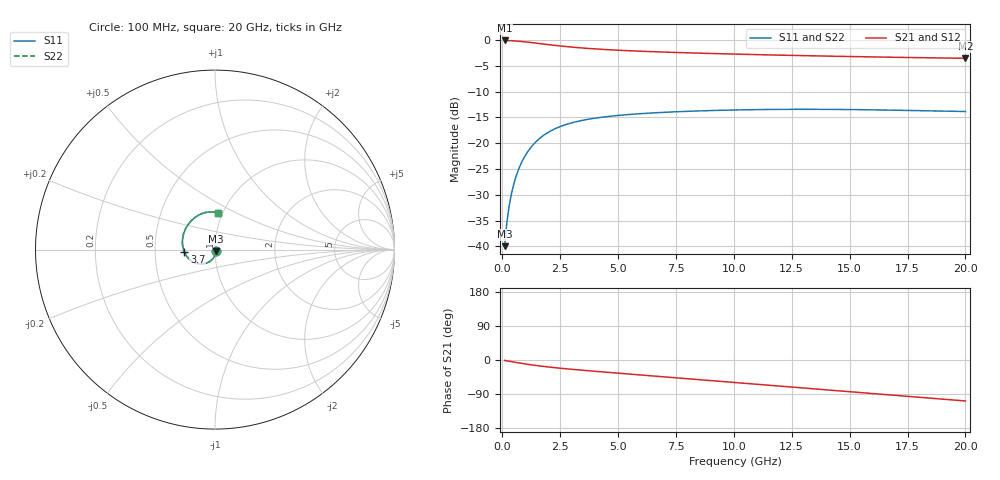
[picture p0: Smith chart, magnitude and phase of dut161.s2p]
! Created with skrf 1.9.0 (http://scikit-rf.org).
# GHz S RI R 50.0
!freq ReS11 ImS11 ReS21 ImS21 ReS12 ImS12 ReS22 ImS22
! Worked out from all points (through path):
!   200 points, 100 MHz to 20 GHz, reference 50 ohm
!   highest |S21| = -0.06 dB at 100 MHz (marker M1); lowest = -3.5 dB at 20 GHz (marker M2)
!   group delay of S21, straight-line fit = 14 ps
!   lowest |S11| = -40.0 dB at 100 MHz (marker M3), VSWR 1.02, Z = 50.5 - j0.846 ohm
!   |S11| at or under -10 dB: start of sweep to end of sweep
!   |S22| runs from -40.0 to -13.4 dB; largest |S21 - S12| = 2e-15
!   S11 on the Smith chart (normalised r, x): 100 MHz: 1.01, -0.02; 3.7 GHz: 0.71, -0.02; 20 GHz: 0.96, +0.40
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0.1  0.00553 -0.00837  0.9935 -0.0196  0.9935 -0.0196  0.00553 -0.00837
0.2  0.00423 -0.0167  0.9917 -0.039  0.9917 -0.039  0.00423 -0.0167
0.3  0.00205 -0.0249  0.9889 -0.0581  0.9889 -0.0581  0.00205 -0.0249
0.4  -0.00098 -0.0328  0.9851 -0.0768  0.9851 -0.0768  -0.00098 -0.0328
0.5  -0.00482 -0.0402  0.9803 -0.095  0.9803 -0.095  -0.00482 -0.0402
0.7  -0.0147 -0.0536  0.9685 -0.1295  0.9685 -0.1295  -0.0147 -0.0536
0.8  -0.0205 -0.0594  0.9615 -0.1458  0.9615 -0.1458  -0.0205 -0.0594
1  -0.0334 -0.0688  0.946 -0.1762  0.946 -0.1762  -0.0334 -0.0688
1.2  -0.0475 -0.0753  0.9291 -0.2036  0.9291 -0.2036  -0.0475 -0.0753
1.4  -0.062 -0.0791  0.9113 -0.2282  0.9113 -0.2282  -0.062 -0.0791
1.7  -0.0833 -0.0801  0.8842 -0.2603  0.8842 -0.2603  -0.0833 -0.0801
2  -0.103 -0.0764  0.8576 -0.2875  0.8576 -0.2875  -0.103 -0.0764
2.7  -0.1398 -0.056  0.8008 -0.3379  0.8008 -0.3379  -0.1398 -0.056
3.5  -0.1658 -0.0233  0.7451 -0.3832  0.7451 -0.3832  -0.1658 -0.0233
3.7  -0.1701 -0.0147  0.7324 -0.3935  0.7324 -0.3935  -0.1701 -0.0147
5.1  -0.1817 0.0439  0.6508 -0.4594  0.6508 -0.4594  -0.1817 0.0439
6.8  -0.1696 0.1031  0.557 -0.5298  0.557 -0.5298  -0.1696 0.1031
10.1  -0.1141 0.1768  0.368 -0.6328  0.368 -0.6328  -0.1141 0.1768
11.7  -0.0835 0.1958  0.2726 -0.6642  0.2726 -0.6642  -0.0835 0.1958
13.4  -0.0531 0.2067  0.1704 -0.6838  0.1704 -0.6838  -0.0531 0.2067
16.7  -0.00674 0.2095  -0.0246 -0.683  -0.0246 -0.683  -0.00674 0.2095
20  0.019 0.2023  -0.2069 -0.6341  -0.2069 -0.6341  0.019 0.2023
